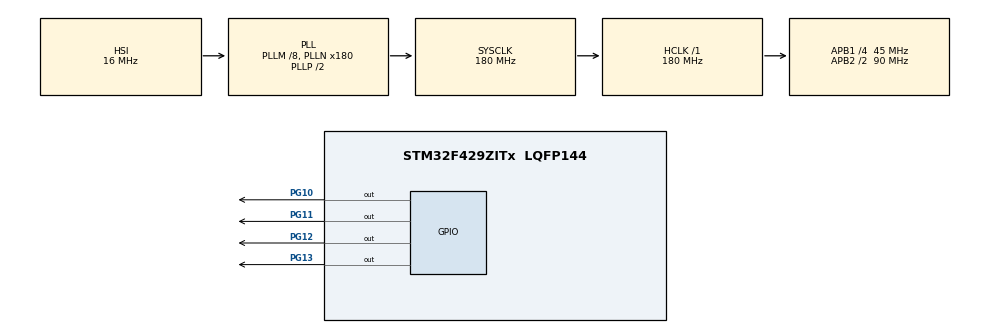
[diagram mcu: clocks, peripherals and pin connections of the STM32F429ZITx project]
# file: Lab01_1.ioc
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Mcu.Family=STM32F4
Mcu.Name=STM32F429ZITx
Mcu.Package=LQFP144
NVIC.PriorityGroup=NVIC_PRIORITYGROUP_4
PG10.Signal=GPIO_Output
PG11.Signal=GPIO_Output
PG12.Signal=GPIO_Output
PG13.Signal=GPIO_Output
ProjectManager.HeapSize=0x200
ProjectManager.StackSize=0x400
ProjectManager.TargetToolchain=STM32CubeIDE
RCC.48MHZClocksFreq_Value=90000000
RCC.AHBFreq_Value=180000000
RCC.APB1CLKDivider=RCC_HCLK_DIV4
RCC.APB1Freq_Value=45000000
RCC.APB1TimFreq_Value=90000000
RCC.APB2CLKDivider=RCC_HCLK_DIV2
RCC.APB2Freq_Value=90000000
RCC.APB2TimFreq_Value=180000000
RCC.CortexFreq_Value=180000000
RCC.HCLKFreq_Value=180000000
RCC.HSE_VALUE=25000000
RCC.HSI_VALUE=16000000
RCC.LSE_VALUE=32768
RCC.PLLM=8
RCC.PLLN=180
RCC.SYSCLKFreq_VALUE=180000000
RCC.SYSCLKSource=RCC_SYSCLKSOURCE_PLLCLK
RCC.VCOOutputFreq_Value=360000000
board=custom

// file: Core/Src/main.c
/* USER CODE BEGIN Header */
/**
  ******************************************************************************
  * @file           : main.c
  * @brief          : Main program body
  ******************************************************************************
  * @attention
  *
  * <h2><center>&copy; Copyright (c) 2021 STMicroelectronics.
  * All rights reserved.</center></h2>
  *
  * This software component is licensed by ST under BSD 3-Clause license,
  * the "License"; You may not use this file except in compliance with the
  * License. You may obtain a copy of the License at:
  *                        opensource.org/licenses/BSD-3-Clause
  *
  ******************************************************************************
  */
/* USER CODE END Header */
#include "main.h"
#include "gpio.h"

/* USER CODE BEGIN PV */
uint8_t num = 0;
uint8_t led0 = 0;
uint8_t led1 = 0;
uint8_t led2 = 0;
/* USER CODE END PV */

void SystemClock_Config(void);

int main(void)
{

  /* MCU Configuration--------------------------------------------------------*/

  /* Reset of all peripherals, Initializes the Flash interface and the Systick. */
  HAL_Init();

  /* Configure the system clock */
  SystemClock_Config();

  /* Initialize all configured peripherals */
  MX_GPIO_Init();

  /* Infinite loop */
  while (1)
  {

    /* USER CODE BEGIN 3 */
	  //LDC PG13 ON
	  //000
	  	  	HAL_GPIO_WritePin(GPIOG, GPIO_PIN_12,GPIO_PIN_SET);led2 = 0;
	  	  	HAL_GPIO_WritePin(GPIOG, GPIO_PIN_11,GPIO_PIN_SET);led1 = 0;
	  	  	HAL_GPIO_WritePin(GPIOG, GPIO_PIN_10,GPIO_PIN_SET);led0 = 0;

	  	    //Delay
	  	    HAL_Delay(300);
	  	  	//001
	  	  	HAL_GPIO_WritePin(GPIOG, GPIO_PIN_12,GPIO_PIN_SET);led2 = 0;
	  	  	HAL_GPIO_WritePin(GPIOG, GPIO_PIN_11,GPIO_PIN_SET);led1 = 0;
	  	  	HAL_GPIO_WritePin(GPIOG, GPIO_PIN_10,GPIO_PIN_RESET);led0 = 1;
	  	  	//Delay
	  	    HAL_Delay(300);
	  	  	//010
	  	  	HAL_GPIO_WritePin(GPIOG, GPIO_PIN_12,GPIO_PIN_SET);led2 = 0;
	  	    HAL_GPIO_WritePin(GPIOG, GPIO_PIN_11,GPIO_PIN_RESET);led1 = 1;
	  	  	HAL_GPIO_WritePin(GPIOG, GPIO_PIN_10,GPIO_PIN_SET);led0 = 0;
	  	  	//Delay
	  	  	HAL_Delay(300);
	  	  	//011
	  	    HAL_GPIO_WritePin(GPIOG, GPIO_PIN_12,GPIO_PIN_SET);led2 = 0;
	  	  	HAL_GPIO_WritePin(GPIOG, GPIO_PIN_11,GPIO_PIN_RESET);led1 = 1;
	  	    HAL_GPIO_WritePin(GPIOG, GPIO_PIN_10,GPIO_PIN_RESET);led0 = 1;
	  	    //Delay
	  	    HAL_Delay(300);
	  	  	//100
	  	  	HAL_GPIO_WritePin(GPIOG, GPIO_PIN_12,GPIO_PIN_RESET);led2 = 1;
	  	  	HAL_GPIO_WritePin(GPIOG, GPIO_PIN_11,GPIO_PIN_SET);led1 = 0;
	  	  	HAL_GPIO_WritePin(GPIOG, GPIO_PIN_10,GPIO_PIN_SET);led0 = 0;
	  	  	//Delay
	  	  	HAL_Delay(300);
	  	  	//101
	  	  	HAL_GPIO_WritePin(GPIOG, GPIO_PIN_12,GPIO_PIN_RESET);led2 = 1;
	  	  	HAL_GPIO_WritePin(GPIOG, GPIO_PIN_11,GPIO_PIN_SET);led1 = 0;
	  	  	HAL_GPIO_WritePin(GPIOG, GPIO_PIN_10,GPIO_PIN_RESET);led0 = 1;
	  	  	//Delay
	  	    HAL_Delay(300);
	  	  	//110
	  	  	HAL_GPIO_WritePin(GPIOG, GPIO_PIN_12,GPIO_PIN_RESET);led2 = 1;
	  	  	HAL_GPIO_WritePin(GPIOG, GPIO_PIN_11,GPIO_PIN_RESET);led1 = 1;
	  	  	HAL_GPIO_WritePin(GPIOG, GPIO_PIN_10,GPIO_PIN_SET);led0 = 0;
	  	  	//Delay
	  	  	HAL_Delay(300);
	  	  	//111
	  	  	HAL_GPIO_WritePin(GPIOG, GPIO_PIN_12,GPIO_PIN_RESET);led2 = 1;
	  	  	HAL_GPIO_WritePin(GPIOG, GPIO_PIN_11,GPIO_PIN_RESET);led1 = 1;
	  	  	HAL_GPIO_WritePin(GPIOG, GPIO_PIN_10,GPIO_PIN_RESET);led0 = 1;
	  	  	//Delay
	  	  	HAL_Delay(300);

	  	  	num++;
	  	  	  if(num > 7)
	  	  		  num = 0;

  }
  /* USER CODE END 3 */
}

void SystemClock_Config(void)
{
  RCC_OscInitTypeDef RCC_OscInitStruct = {0};
  RCC_ClkInitTypeDef RCC_ClkInitStruct = {0};

  /** Configure the main internal regulator output voltage
  */
  __HAL_RCC_PWR_CLK_ENABLE();
  __HAL_PWR_VOLTAGESCALING_CONFIG(PWR_REGULATOR_VOLTAGE_SCALE1);
  /** Initializes the RCC Oscillators according to the specified parameters
  * in the RCC_OscInitTypeDef structure.
  */
  RCC_OscInitStruct.OscillatorType = RCC_OSCILLATORTYPE_HSI;
  RCC_OscInitStruct.HSIState = RCC_HSI_ON;
  RCC_OscInitStruct.HSICalibrationValue = RCC_HSICALIBRATION_DEFAULT;
  RCC_OscInitStruct.PLL.PLLState = RCC_PLL_ON;
  RCC_OscInitStruct.PLL.PLLSource = RCC_PLLSOURCE_HSI;
  RCC_OscInitStruct.PLL.PLLM = 8;
  RCC_OscInitStruct.PLL.PLLN = 180;
  RCC_OscInitStruct.PLL.PLLP = RCC_PLLP_DIV2;
  RCC_OscInitStruct.PLL.PLLQ = 4;
  if (HAL_RCC_OscConfig(&RCC_OscInitStruct) != HAL_OK)
  {
    Error_Handler();
  }
  /** Activate the Over-Drive mode
  */
  if (HAL_PWREx_EnableOverDrive() != HAL_OK)
  {
    Error_Handler();
  }
  /** Initializes the CPU, AHB and APB buses clocks
  */
  RCC_ClkInitStruct.ClockType = RCC_CLOCKTYPE_HCLK|RCC_CLOCKTYPE_SYSCLK
                              |RCC_CLOCKTYPE_PCLK1|RCC_CLOCKTYPE_PCLK2;
  RCC_ClkInitStruct.SYSCLKSource = RCC_SYSCLKSOURCE_PLLCLK;
  RCC_ClkInitStruct.AHBCLKDivider = RCC_SYSCLK_DIV1;
  RCC_ClkInitStruct.APB1CLKDivider = RCC_HCLK_DIV4;
  RCC_ClkInitStruct.APB2CLKDivider = RCC_HCLK_DIV2;

  if (HAL_RCC_ClockConfig(&RCC_ClkInitStruct, FLASH_LATENCY_5) != HAL_OK)
  {
    Error_Handler();
  }
}

void Error_Handler(void)
{
  __disable_irq();
  while (1)
  {
  }
}

/************************ (C) COPYRIGHT STMicroelectronics *****END OF FILE****/
